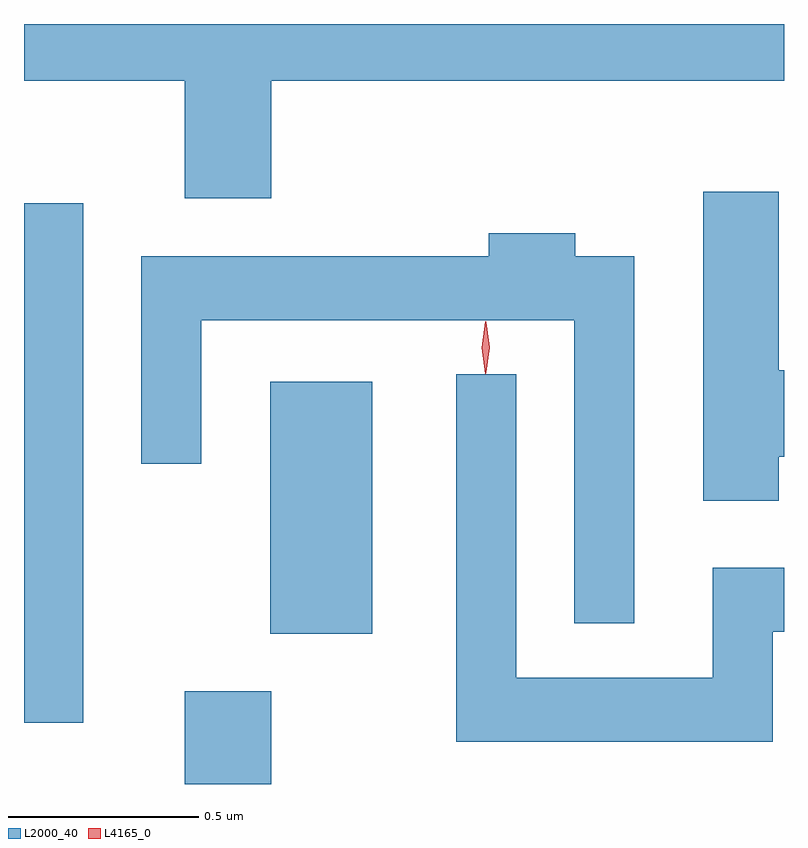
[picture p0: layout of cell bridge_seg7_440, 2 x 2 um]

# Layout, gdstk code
import gdstk
lib = gdstk.Library(unit=1e-6, precision=1e-09)
def R(c, l, rs):  # rectangles x0, y0, x1, y1
    for r in rs: c.add(gdstk.rectangle(r[:2], r[2:], *l))
def P(c, l, *ps):  # polygons
    for p in ps: c.add(gdstk.Polygon(p, *l))
L2000_40 = (2000, 40)
L4165_0 = (4165, 0)

bridge_seg7_440 = lib.new_cell('bridge_seg7_440')
R(bridge_seg7_440, L2000_40, [(1131.161,1692.485,1131.389,1692.729), (1130.738,1692.646,1130.894,1694.013), (1131.386,1692.881,1131.654,1693.544)])
P(bridge_seg7_440, L2000_40, [(1131.389,1694.336),(1132.738,1694.336),(1132.738,1694.485),(1130.738,1694.485),(1130.738,1694.336),(1131.161,1694.336),(1131.161,1694.026),(1131.389,1694.026)],
  [(1132.724,1693.346),(1132.738,1693.346),(1132.738,1693.574),(1132.724,1693.574),(1132.724,1694.044),(1132.526,1694.044),(1132.526,1693.231),(1132.724,1693.231)],
  [(1132.344,1693.874),(1132.189,1693.874),(1132.189,1693.934),(1131.961,1693.934),(1131.961,1693.874),(1131.046,1693.874),(1131.046,1693.328),(1131.204,1693.328),(1131.204,1693.706),(1132.186,1693.706),(1132.186,1692.908),(1132.344,1692.908)],
  [(1132.709,1692.886),(1132.738,1692.886),(1132.738,1693.054),(1132.551,1693.054),(1132.551,1692.764),(1132.034,1692.764),(1132.034,1693.563),(1131.876,1693.563),(1131.876,1692.596),(1132.709,1692.596)])
P(bridge_seg7_440, L4165_0, [(1131.954,1693.567),(1131.954,1693.568),(1131.944,1693.634),(1131.954,1693.7),(1131.954,1693.701),(1131.955,1693.7),(1131.964,1693.634),(1131.955,1693.568)],
  [(1131.953,1693.563),(1131.952,1693.564),(1131.943,1693.633),(1131.952,1693.702),(1131.953,1693.703),(1131.953,1693.702),(1131.963,1693.633),(1131.953,1693.564)])

lib.write_gds('bridge_seg7_440.gds')
